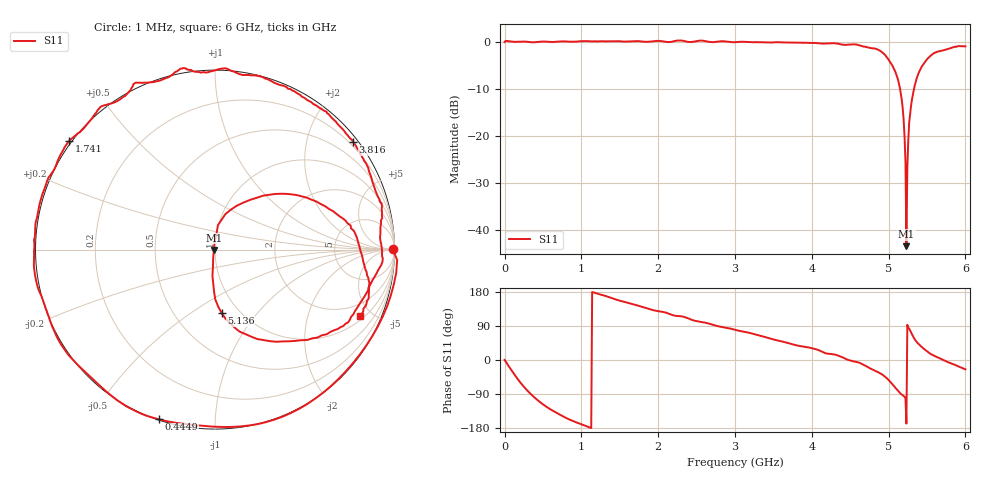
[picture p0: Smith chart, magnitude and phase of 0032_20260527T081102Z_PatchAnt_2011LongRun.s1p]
# Hz S RI R 50
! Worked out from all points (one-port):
!   501 points, 1 MHz to 6 GHz, reference 50 ohm
!   lowest |S11| = -43.5 dB at 5.232 GHz (marker M1), VSWR 1.01, Z = 49.4 - j0.139 ohm
!   |S11| at or under -10 dB: 5.149 GHz to 5.332 GHz (182.7 MHz wide, 3.49 % of centre)
!   S11 on the Smith chart (normalised r, x): 1 MHz: open; 444.9 MHz: 0.00, -0.72; 1.741 GHz: -0.01, +0.33; 3.816 GHz: 0.12, +2.90; 5.136 GHz: 0.83, -0.67; 6 GHz: 1.18, -4.26
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1000000  0.9906 0.00196
8.4986e7  0.9058 -0.4311
2.16964e8  0.468 -0.8875
3.0095e8  0.1462 -0.9848
4.44926e8  -0.314 -0.9448
7.56874e8  -0.8558 -0.5311
1.056824e9  -1.007 -0.1076
1.50075e9  -0.9267 0.4038
1.74071e9  -0.812 0.606
2.256624e9  -0.4532 0.9233
3.0005e9  0.1721 0.9724
3.756374e9  0.736 0.6403
3.816364e9  0.7679 0.5994
4.296284e9  0.9305 0.2421
4.50025e9  0.9305 -0.0209
4.872188e9  0.6832 -0.4427
5.028162e9  0.3075 -0.5103
5.136144e9  0.0365 -0.3521
5.184136e9  -0.00936 -0.1941
5.196134e9  -0.0143 -0.1461
5.208132e9  -0.0114 -0.0959
5.232128e9  -0.0065 -0.00141
5.256124e9  0.008 0.0868
5.268122e9  0.0162 0.136
5.292118e9  0.0583 0.1982
5.412098e9  0.3971 0.3105
5.628062e9  0.7711 0.107
6e9  0.8095 -0.3721
